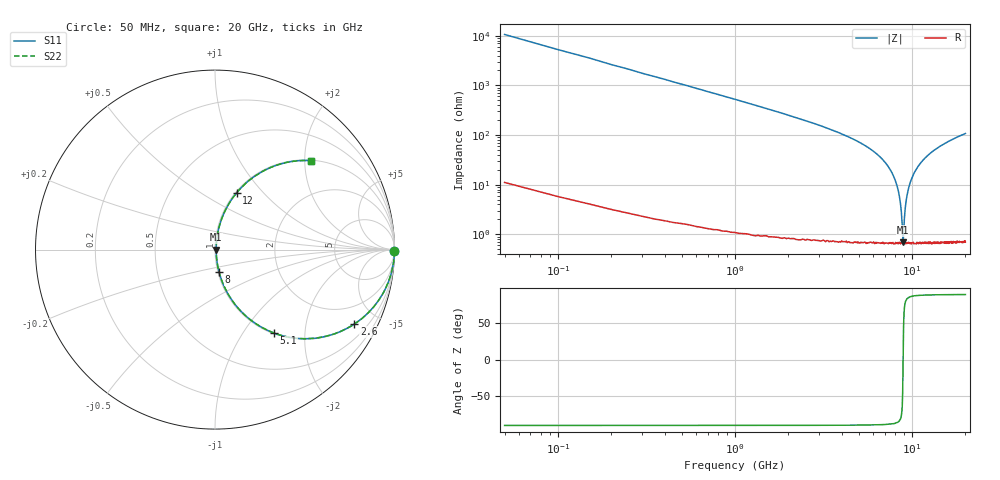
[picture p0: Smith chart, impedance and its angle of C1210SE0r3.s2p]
! AVX Thin Film Operation		Date: April 2012
! Description: Accu-P® Series, Thin Film, SMD, RF Capacitor
! Part Number: 12101J0R3PBTTR
!	100	MHz	-	20.05	GHz
!	Serial	Measurements
#	MHZ	S	MA	R	50
!	S11	S21	S12	S22
!	dB	Phase	dB	Phase	dB	Phase	dB	Phase
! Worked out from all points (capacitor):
!   400 points, 50 MHz to 20 GHz, reference 50 ohm
!   read as one part in series: C = 299 fF near 150 MHz
!   lowest |Z| = 686 mohm at 8.9 GHz (marker M1)
!   series resonance near 8.899 GHz, so ESL is about 1.1 nH
!   S11 on the Smith chart (normalised r, x): 50 MHz: open; 2.6 GHz: 1.01, -3.73; 5.1 GHz: 1.01, -1.40; 8 GHz: 1.01, -0.26; 12 GHz: 1.01, +0.72; 20 GHz: 1.01, +2.15
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50  1 -0.5  0.009425 89.4  0.009425 89.4  1 -0.5
100  1 -1.1  0.019 88.9  0.019 88.9  1 -1.1
250  0.999 -2.7  0.047 87.2  0.047 87.2  0.999 -2.7
450  0.996 -4.9  0.085 85.1  0.085 85.1  0.996 -4.9
700  0.991 -7.6  0.132 82.3  0.132 82.3  0.991 -7.6
1450  0.962 -15.7  0.27 74.2  0.27 74.2  0.962 -15.7
2600  0.88 -28.1  0.471 61.6  0.471 61.6  0.88 -28.1
3400  0.798 -36.8  0.599 52.9  0.599 52.9  0.798 -36.8
5100  0.57 -54.7  0.816 34.8  0.816 34.8  0.57 -54.7
6700  0.323 -70.1  0.94 18.8  0.94 18.8  0.323 -70.1
8000  0.126 -79.8  0.986 7.2  0.986 7.2  0.126 -79.8
8350  0.076 -80.7  0.991 4.3  0.991 4.3  0.076 -80.7
8600  0.041 -78.4  0.993 2.3  0.993 2.3  0.041 -78.4
8750  0.021 -70.6  0.993 1.1  0.993 1.1  0.021 -70.6
8900  0.006633 0.6  0.993 -0.0  0.993 -0.0  0.006633 0.6
9050  0.021 70.4  0.993 -1.1  0.993 -1.1  0.021 70.4
9300  0.053 79.8  0.992 -3.0  0.992 -3.0  0.053 79.8
10050  0.143 79.2  0.983 -8.2  0.983 -8.2  0.143 79.2
12000  0.338 69.2  0.935 -19.8  0.935 -19.8  0.338 69.2
13350  0.443 63.0  0.891 -26.3  0.891 -26.3  0.443 63.0
16700  0.623 51.0  0.777 -38.5  0.777 -38.5  0.623 51.0
20000  0.73 42.8  0.679 -46.9  0.679 -46.9  0.73 42.8
